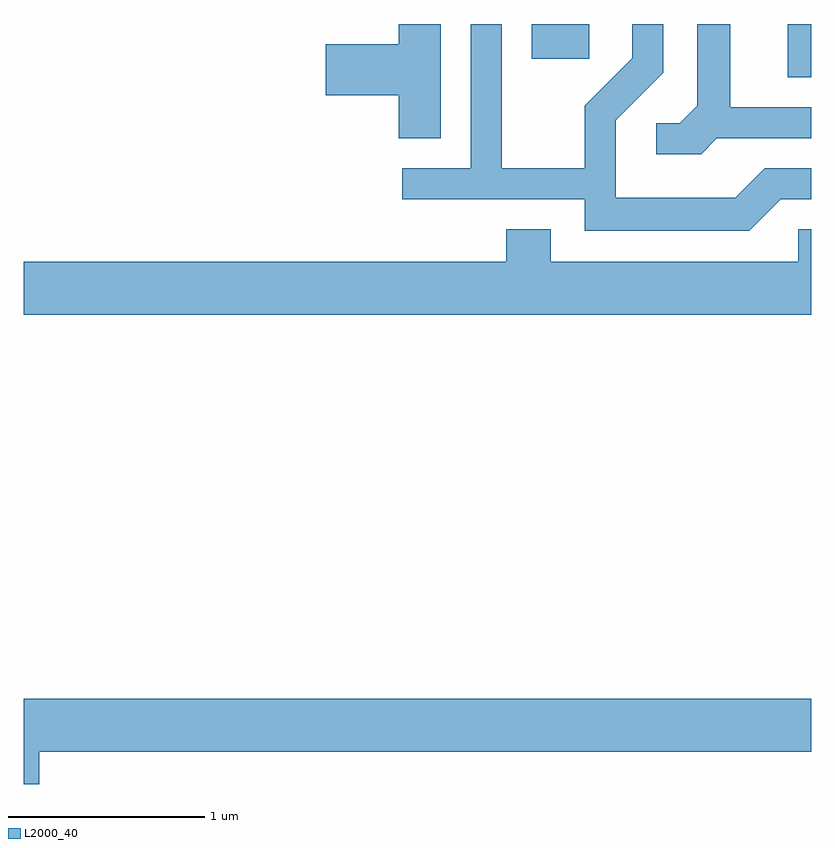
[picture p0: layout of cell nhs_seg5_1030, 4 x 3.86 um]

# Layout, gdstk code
import gdstk
lib = gdstk.Library(unit=1e-6, precision=1e-09)
def R(c, l, rs):  # rectangles x0, y0, x1, y1
    for r in rs: c.add(gdstk.rectangle(r[:2], r[2:], *l))
def P(c, l, *ps):  # polygons
    for p in ps: c.add(gdstk.Polygon(p, *l))
L2000_40 = (2000, 40)

nhs_seg5_1030 = lib.new_cell('nhs_seg5_1030')
R(nhs_seg5_1030, L2000_40, [(219.491,1435.801,219.611,1436.072), (218.191,1435.896,218.484,1436.072)])
P(nhs_seg5_1030, L2000_40, [(219.132,1435.491),(219.611,1435.491),(219.611,1435.649),(219.199,1435.649),(219.199,1436.072),(219.031,1436.072),(219.031,1435.657),(218.944,1435.569),(218.823,1435.569),(218.823,1435.411),(219.052,1435.411)],
  [(219.457,1435.181),(219.611,1435.181),(219.611,1435.339),(219.374,1435.339),(219.224,1435.189),(218.619,1435.189),(218.619,1435.584),(218.859,1435.824),(218.859,1436.072),(218.701,1436.072),(218.701,1435.897),(218.461,1435.657),(218.461,1435.339),(218.039,1435.339),(218.039,1436.072),(217.881,1436.072),(217.881,1435.339),(217.533,1435.339),(217.533,1435.181),(218.461,1435.181),(218.461,1435.021),(219.297,1435.021)],
  [(217.729,1436.072),(217.516,1436.072),(217.516,1435.969),(217.146,1435.969),(217.146,1435.711),(217.516,1435.711),(217.516,1435.491),(217.729,1435.491)],
  [(219.611,1435.029),(219.546,1435.029),(219.546,1434.864),(218.289,1434.864),(218.289,1435.029),(218.061,1435.029),(218.061,1434.864),(215.611,1434.864),(215.611,1434.596),(219.611,1434.596)],
  [(215.689,1432.376),(219.611,1432.376),(219.611,1432.644),(215.611,1432.644),(215.611,1432.211),(215.689,1432.211)])

lib.write_gds('nhs_seg5_1030.gds')
